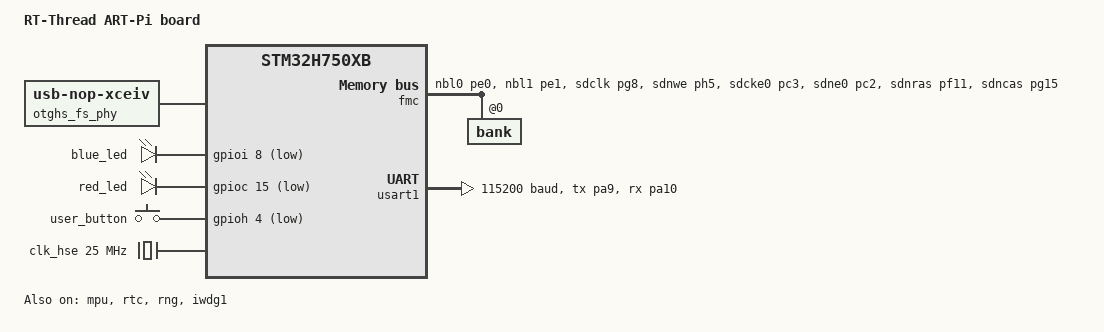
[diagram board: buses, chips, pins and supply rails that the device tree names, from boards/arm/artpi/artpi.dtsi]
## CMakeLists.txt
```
# Copyright (c) 2021 Nordic Semiconductor ASA
# SPDX-License-Identifier: Apache-2.0
#
# This CMake file is picked by the Zephyr build system because it is defined
# as the module CMake entry point (see zephyr/module.yml).

set(BOARD artpi)
set(ZEPHYR_TOOLCHAIN_VARIANT zephyr)

list(APPEND BOARD_ROOT 
        ${CMAKE_CURRENT_LIST_DIR}
        )

cmake_minimum_required(VERSION 3.13.1)
find_package(Zephyr REQUIRED HINTS $ENV{ZEPHYR_BASE})

project(artpi_blink LANGUAGES C VERSION 1.0.0)

configure_file(app_version.h.in ${CMAKE_BINARY_DIR}/app/include/app_version.h)
target_include_directories(app PRIVATE ${CMAKE_BINARY_DIR}/app/include src)
set_target_properties(app PROPERTIES ALLOW_EMPTY YES)
target_sources(app PRIVATE src/main.c)
```

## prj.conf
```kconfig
CONFIG_GPIO=y
CONFIG_LOG=y
CONFIG_CONSOLE=y
CONFIG_STDOUT_CONSOLE=y
CONFIG_UART_CONSOLE=y

CONFIG_MAIN_STACK_SIZE=4096
CONFIG_NEWLIB_LIBC=y
```

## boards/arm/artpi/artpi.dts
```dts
/*
 * SPDX-License-Identifier: Apache-2.0
 */

/dts-v1/;
#include "artpi.dtsi"

/ {
    chosen {
		zephyr,console = &cdc_acm_uart0;
	};
};

&zephyr_udc0 {
	status = "okay";
	cdc_acm_uart0: cdc_acm_uart0 {
		compatible = "zephyr,cdc-acm-uart";
	};
};
```

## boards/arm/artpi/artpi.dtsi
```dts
/*
 * SPDX-License-Identifier: Apache-2.0
 */

/dts-v1/;
#include <st/h7/stm32h750Xb.dtsi>
#include <st/h7/stm32h750xbhx-pinctrl.dtsi>

/ {
	model = "RT-Thread ART-Pi board";
	compatible = "rtthread,artpi";

	chosen {
		zephyr,console = &usart1;
		zephyr,shell-uart = &usart1;
		zephyr,sram = &sram0;
		zephyr,dtcm = &dtcm;
	};

	soc {
		usbotg_fs: usb@40080000 {
			compatible = "st,stm32-otgfs";
			reg = <0x40080000 0x40000>;
			interrupts = <101 0>, <98 0>, <99 0>;
			interrupt-names = "otgfs", "ep1_out", "ep1_in";
			num-bidir-endpoints = <9>;
			ram-size = <4096>;
			maximum-speed = "full-speed";
			clocks = <&rcc STM32_CLOCK_BUS_AHB1 0x08000000>,
				 <&rcc STM32_SRC_HSI48 USB_SEL(3)>;
			phys = <&otghs_fs_phy>;
			status = "disabled";
		};
	};

	sdram1: sdram@c0000000 {
		compatible = "zephyr,memory-region", "mmio-sram";
		device_type = "memory";
		reg = <0xc0000000 DT_SIZE_M(32)>;
		zephyr,memory-region = "SDRAM1";
	};

	otghs_fs_phy: otghs_fs_phy {
		compatible = "usb-nop-xceiv";
		#phy-cells = <0>;
	};

	leds {
		compatible = "gpio-leds";
		blue_led: led_0 {
			gpios = <&gpioi 8 GPIO_ACTIVE_LOW>;
		};
		red_led: led_1 {
			gpios = <&gpioc 15 GPIO_ACTIVE_LOW>;
		};
	};

	gpio_keys {
		compatible = "gpio-keys";
		user_button: button_0 {
			gpios = <&gpioh 4 GPIO_ACTIVE_LOW>;
		};
	};

	aliases {
		led0 = &blue_led;
		led1 = &red_led;
		sw0 = &user_button;
	};
};

&mpu {
    status = "okay";
};

&fmc {
	status = "okay";
	pinctrl-0 = <&fmc_nbl0_pe0 &fmc_nbl1_pe1
		     &fmc_sdclk_pg8 &fmc_sdnwe_ph5 &fmc_sdcke0_pc3
		     &fmc_sdne0_pc2 &fmc_sdnras_pf11 &fmc_sdncas_pg15
		     &fmc_a0_pf0 &fmc_a1_pf1 &fmc_a2_pf2 &fmc_a3_pf3 &fmc_a4_pf4
		     &fmc_a5_pf5 &fmc_a6_pf12 &fmc_a7_pf13 &fmc_a8_pf14
		     &fmc_a9_pf15 &fmc_a10_pg0 &fmc_a11_pg1 &fmc_a12_pg2
		     &fmc_a14_pg4 &fmc_a15_pg5 &fmc_d0_pd14 &fmc_d1_pd15
		     &fmc_d2_pd0 &fmc_d3_pd1 &fmc_d4_pe7 &fmc_d5_pe8 &fmc_d6_pe9
		     &fmc_d7_pe10 &fmc_d8_pe11 &fmc_d9_pe12 &fmc_d10_pe13
		     &fmc_d11_pe14 &fmc_d12_pe15 &fmc_d13_pd8 &fmc_d14_pd9
		     &fmc_d15_pd10>;
	pinctrl-names = "default";

	sdram {
		status = "okay";
		power-up-delay = <100>;
		num-auto-refresh = <8>;
		mode-register = <0x221>;
		refresh-rate = <0x02A5>;

		bank@0 {
			reg = <0>;

			st,sdram-control = <STM32_FMC_SDRAM_NC_9
						STM32_FMC_SDRAM_NR_13
					    STM32_FMC_SDRAM_MWID_16
                        STM32_FMC_SDRAM_NB_4
					    STM32_FMC_SDRAM_CAS_2
					    STM32_FMC_SDRAM_SDCLK_PERIOD_2
					    STM32_FMC_SDRAM_RBURST_ENABLE
					    STM32_FMC_SDRAM_RPIPE_0>;
			st,sdram-timing = <2 8 6 6 2 2 2>;
		};
	};
};

&clk_hse {
	clock-frequency = <DT_FREQ_M(25)>; /* STLink 8MHz clock */
	status = "okay";
};

&clk_hsi48 {
    status = "okay";
};

&pll {
	div-m = <5>;
	mul-n = <192>;
	div-p = <2>;
	div-q = <2>;
	div-r = <2>;
	clocks = <&clk_hse>;
	status = "okay";
};

&pll2 {
    div-m = <2>;
    mul-n = <64>;
    div-p = <2>;
    div-q = <2>;
    div-r = <4>;
    clocks = <&clk_hse>;
    status = "disabled";
};

&rcc {
	clocks = <&pll>, <&pll2>;
	clock-frequency = <DT_FREQ_M(480)>;
	d1cpre = <1>;
	hpre = <2>;
	d1ppre = <2>;
	d2ppre1 = <2>;
	d2ppre2 = <2>;
	d3ppre = <2>;
};

&usart1 {
	pinctrl-0 = <&usart1_tx_pa9 &usart1_rx_pa10>;
	pinctrl-names = "default";
	current-speed = <115200>;
	status = "okay";
};

&rtc {
	status = "okay";
};

&rng {
	status = "okay";
};

&spi2 {
	status = "disabled";
	pinctrl-0 = <&spi2_sck_pi1 &spi2_miso_pi2 &spi2_mosi_pi3>;
	pinctrl-names = "default";
	cs-gpios = <&gpioi 0 (GPIO_ACTIVE_LOW | GPIO_PULL_UP)>;
};

&i2c4 {
	status = "disabled";
	pinctrl-0 = <&i2c4_scl_ph11 &i2c4_sda_ph12>;
	pinctrl-names = "default";
	clock-frequency = <I2C_BITRATE_FAST>;
};

&backup_sram {
	status = "okay";
};

&iwdg1 {
	status = "okay";
};

zephyr_udc0: &usbotg_fs {
	pinctrl-0 = <&usb_otg_fs_dm_pa11 &usb_otg_fs_dp_pa12>;
	pinctrl-names = "default";
	status = "disabled";
};

// https://github.com/zephyrproject-rtos/zephyr/pull/62349#issuecomment-1735051590
/delete-node/ &quadspi_memory;
```

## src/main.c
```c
/*
 * Copyright (c) 2018 Jan Van Winkel <jan.van_winkel@dxplore.eu>
 *
 * SPDX-License-Identifier: Apache-2.0
 */

#include <zephyr/kernel.h>
#include <stdio.h>
#include <zephyr/usb/usb_device.h>
#include <zephyr/drivers/gpio.h>

int main(void) {
    if (usb_enable(NULL)) {
        return -1;
    }

    struct gpio_dt_spec led_b = GPIO_DT_SPEC_GET(DT_NODELABEL(blue_led), gpios);
    gpio_pin_configure_dt(&led_b, GPIO_OUTPUT_INACTIVE);
    while (1) {
        gpio_pin_toggle_dt(&led_b);
        k_sleep(K_MSEC(1000));
    }
    return 0;
}
```
